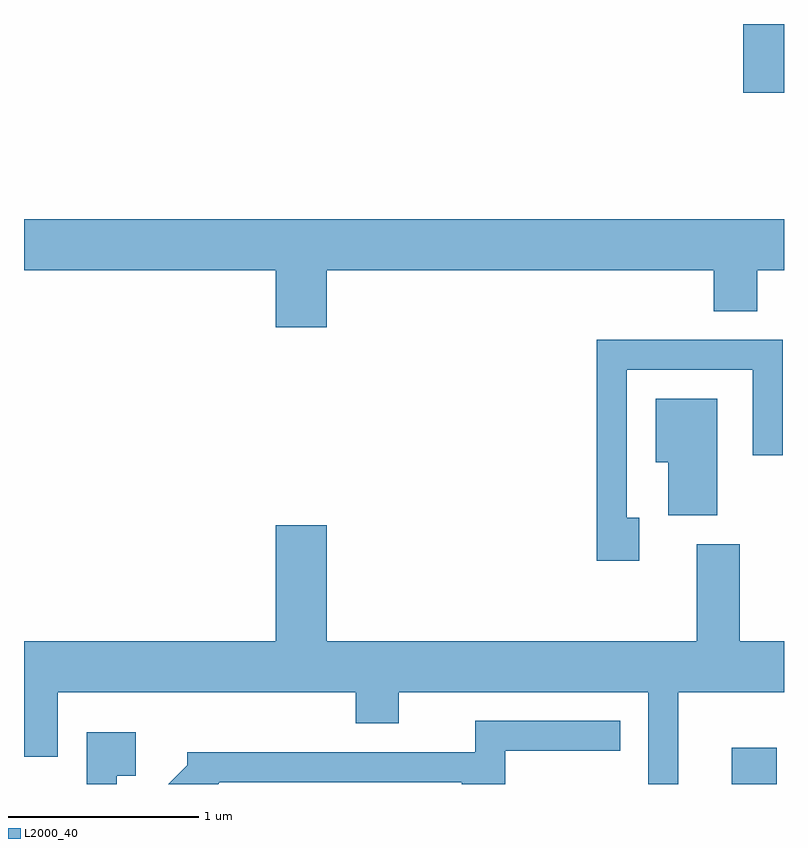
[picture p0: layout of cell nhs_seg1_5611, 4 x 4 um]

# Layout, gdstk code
import gdstk
lib = gdstk.Library(unit=1e-6, precision=1e-09)
def R(c, l, rs):  # rectangles x0, y0, x1, y1
    for r in rs: c.add(gdstk.rectangle(r[:2], r[2:], *l))
def P(c, l, *ps):  # polygons
    for p in ps: c.add(gdstk.Polygon(p, *l))
L2000_40 = (2000, 40)

nhs_seg1_5611 = lib.new_cell('nhs_seg1_5611')
R(nhs_seg1_5611, L2000_40, [(357.336,945.712,357.574,945.904), (357.396,949.351,357.611,949.712)])
P(nhs_seg1_5611, L2000_40, [(355.204,948.416),(357.241,948.416),(357.241,948.201),(357.469,948.201),(357.469,948.416),(357.611,948.416),(357.611,948.684),(353.611,948.684),(353.611,948.416),(354.936,948.416),(354.936,948.116),(355.204,948.116)],
  [(356.849,947.114),(356.784,947.114),(356.784,947.891),(357.446,947.891),(357.446,947.443),(357.604,947.443),(357.604,948.049),(356.626,948.049),(356.626,946.886),(356.849,946.886)],
  [(357.259,947.739),(356.936,947.739),(356.936,947.406),(357.001,947.406),(357.001,947.126),(357.259,947.126)],
  [(357.054,946.196),(357.611,946.196),(357.611,946.464),(357.379,946.464),(357.379,946.974),(357.151,946.974),(357.151,946.464),(355.204,946.464),(355.204,947.074),(354.936,947.074),(354.936,946.464),(353.611,946.464),(353.611,945.856),(353.789,945.856),(353.789,946.196),(355.356,946.196),(355.356,946.031),(355.584,946.031),(355.584,946.196),(356.896,946.196),(356.896,945.712),(357.054,945.712)],
  [(354.642,945.721),(355.916,945.721),(355.916,945.712),(356.144,945.712),(356.144,945.886),(356.748,945.886),(356.748,946.044),(355.986,946.044),(355.986,945.879),(354.471,945.879),(354.471,945.812),(354.371,945.712),(354.633,945.712)],
  [(354.099,945.756),(354.199,945.756),(354.199,945.984),(353.941,945.984),(353.941,945.712),(354.099,945.712)])

lib.write_gds('nhs_seg1_5611.gds')
